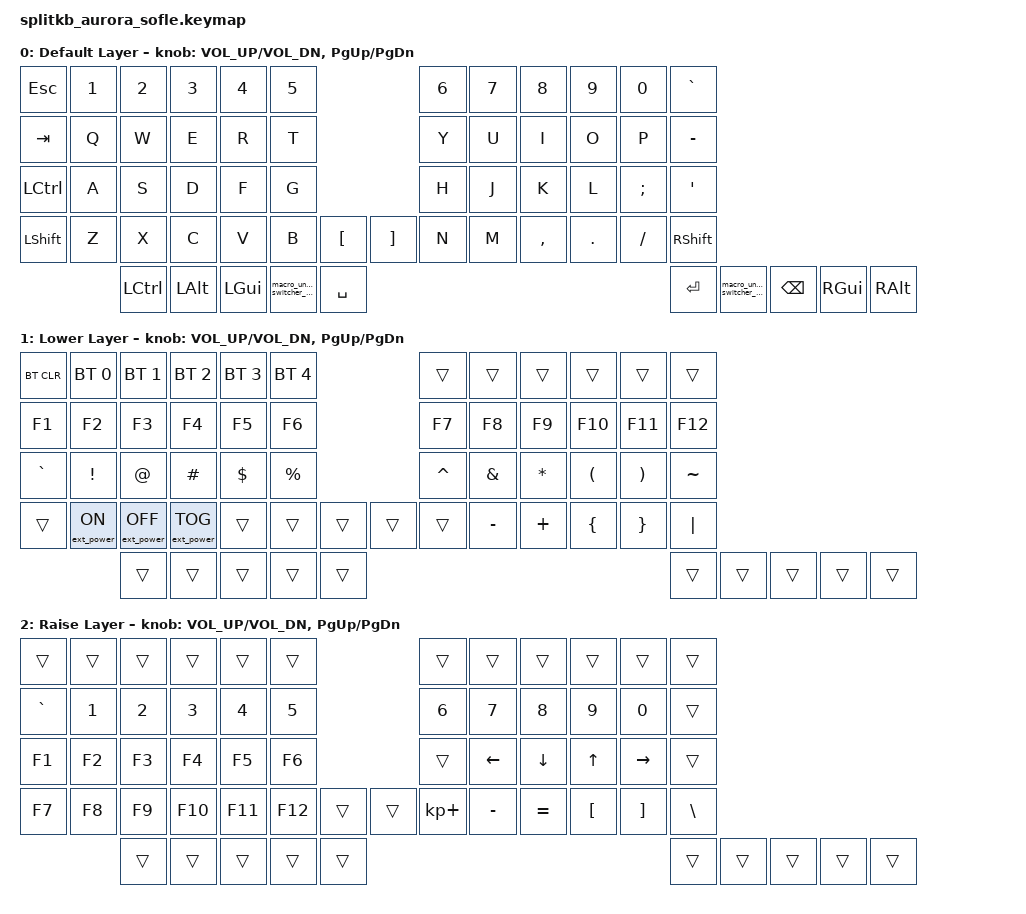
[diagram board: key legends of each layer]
/*
 * Copyright (c) 2023 The ZMK Contributors
 *
 * SPDX-License-Identifier: MIT
 */

#include <behaviors.dtsi>
#include <dt-bindings/zmk/keys.h>
#include <dt-bindings/zmk/bt.h>
#include <dt-bindings/zmk/ext_power.h>
#include <dt-bindings/zmk/rgb.h>

/* Uncomment this block if using RGB */
&led_strip {
    // chain-length = <6>;
    // chain-length = <36>; // Uncomment if using both per-key and underglow LEDs
    chain-length = <72>;
    // chain-length = <29>; // Uncomment if using only per-key LEDs.
};
/*
    backlight: gpioleds {
        compatible = "gpio-leds";
        gpio_led_0 {
            gpios = <&arduino_header 12 GPIO_ACTIVE_HIGH>;
        };
    };
*/
/ {
    macros {
        macro_underglow_switcher_raise: macro_underglow_switcher_raise {
            compatible = "zmk,behavior-macro";
            wait-ms = <0>;
            tap-ms = <0>;
            #binding-cells = <0>;
            bindings
                = <&macro_press &mo 1>
                , <&macro_tap &rgb_ug RGB_COLOR_HSB(38,100,50)>
                , <&macro_pause_for_release>
                , <&macro_release &mo 1>
                , <&macro_tap &rgb_ug RGB_COLOR_HSB(265,100,50)>;
        };
        macro_underglow_switcher_lower: macro_underglow_switcher_lower {
            compatible = "zmk,behavior-macro";
            wait-ms = <0>;
            tap-ms = <0>;
            #binding-cells = <0>;
            bindings
                = <&macro_press &mo 1>
                , <&macro_tap &rgb_ug RGB_COLOR_HSB(125,100,50)>
                , <&macro_pause_for_release>
                , <&macro_release &mo 1>
                , <&macro_tap &rgb_ug RGB_COLOR_HSB(265,10,50)>;
        };
    };

    keymap {
        compatible = "zmk,keymap";

        default_layer {
            display-name = "Default Layer";

// ------------------------------------------------------------------------------------------------------------
// |  ESC  |  1  |  2  |  3   |  4   |  5   |                   |  6   |  7    |  8    |  9   |   0   |   `   |
// |  TAB  |  Q  |  W  |  E   |  R   |  T   |                   |  Y   |  U    |  I    |  O   |   P   |   -   |
// |  CTRL |  A  |  S  |  D   |  F   |  G   |                   |  H   |  J    |  K    |  L   |   ;   |   '   |
// | SHIFT |  Z  |  X  |  C   |  V   |  B   |   "["  |  |  "]"  |  N   |  M    |  ,    |  .   |   /   | SHIFT |
//               |CTRL | ALT  | GUI  | LOWER|  SPACE |  | ENTER | RAISE| BSPC  | GUI   | RALT |
            bindings = <
&kp ESC   &kp N1 &kp N2    &kp N3   &kp N4   &kp N5                     &kp N6 &kp N7   &kp N8    &kp N9   &kp N0   &kp GRAVE
&kp TAB   &kp Q  &kp W     &kp E    &kp R    &kp T                      &kp Y  &kp U    &kp I     &kp O    &kp P    &kp MINUS
&kp LCTRL &kp A  &kp S     &kp D    &kp F    &kp G                      &kp H  &kp J    &kp K     &kp L    &kp SEMI &kp SQT
&kp LSHFT &kp Z  &kp X     &kp C    &kp V    &kp B  &kp LBKT   &kp RBKT &kp N  &kp M    &kp COMMA &kp DOT  &kp FSLH &kp RSHFT
//                 &kp LCTRL &kp LALT &kp LGUI &mo 1  &kp SPACE  &kp RET  &mo 2  &kp BSPC &kp RGUI  &kp RALT
                 &kp LCTRL &kp LALT &kp LGUI &macro_underglow_switcher_lower  &kp SPACE  &kp RET  &macro_underglow_switcher_raise  &kp BSPC &kp RGUI  &kp RALT
            >;

            sensor-bindings = <&inc_dec_kp C_VOL_UP C_VOL_DN &inc_dec_kp PG_UP PG_DN>;
        };

        lower_layer {
            display-name = "Lower Layer";

// ------------------------------------------------------------------------------------------------------------
// | BTCLR | BT1 | BT2 |  BT3 |  BT4 |  BT5 |                   |      |       |       |      |       |       |
// |  F1   |  F2 |  F3 |  F4  |  F5  |  F6  |                   |  F7  |  F8   |  F9   |  F10 |  F11  |  F12  |
// |   `   |  !  |  @  |  #   |  $   |  %   |                   |  ^   |  &    |  *    |  (   |   )   |   ~   |
// |       |     |     |      |      |      |        |  |       |      |  _    |  +    |  {   |   }   |  "|"  |
//               |     |      |      |      |        |  |       |      |       |       |      |
            bindings = <
&bt BT_CLR &bt BT_SEL 0     &bt BT_SEL 1      &bt BT_SEL 2      &bt BT_SEL 3 &bt BT_SEL 4                 &trans    &trans    &trans    &trans    &trans    &trans
&kp F1     &kp F2           &kp F3            &kp F4            &kp F5       &kp F6                       &kp F7    &kp F8    &kp F9    &kp F10   &kp F11   &kp F12
&kp GRAVE  &kp EXCL         &kp AT            &kp HASH          &kp DOLLAR   &kp PRCNT                    &kp CARET &kp AMPS  &kp STAR  &kp LPAR  &kp RPAR  &kp TILDE
&trans     &ext_power EP_ON &ext_power EP_OFF &ext_power EP_TOG &trans       &trans    &trans   &trans    &trans    &kp MINUS &kp PLUS  &kp LBRC  &kp RBRC  &kp PIPE
                            &trans            &trans            &trans       &trans    &trans   &trans    &trans    &trans    &trans    &trans
            >;

            sensor-bindings = <&inc_dec_kp C_VOL_UP C_VOL_DN &inc_dec_kp PG_UP PG_DN>;
        };

        raise_layer {
            display-name = "Raise Layer";

// ------------------------------------------------------------------------------------------------------------
// |       |     |     |      |      |      |                   |      |       |       |      |       |       |
// |   `   |  1  |  2  |  3   |  4   |  5   |                   |  6   |   7   |   8   |  9   |   0   |       |
// |   F1  |  F2 |  F3 |  F4  |  F5  |  F6  |                   |      |   <-  |   v   |  ^   |  ->   |       |
// |   F7  |  F8 |  F9 |  F10 |  F11 |  F12 |        |  |       |  +   |   -   |   =   |  [   |   ]   |   \   |
//               |     |      |      |      |        |  |       |      |       |       |      |
            bindings = <
&trans    &trans &trans &trans  &trans  &trans                       &trans      &trans    &trans    &trans   &trans    &trans
&kp GRAVE &kp N1 &kp N2 &kp N3  &kp N4  &kp N5                       &kp N6      &kp N7    &kp N8    &kp N9   &kp N0    &trans
&kp F1    &kp F2 &kp F3 &kp F4  &kp F5  &kp F6                       &trans      &kp LEFT  &kp DOWN  &kp UP   &kp RIGHT &trans
&kp F7    &kp F8 &kp F9 &kp F10 &kp F11 &kp F12   &trans   &trans    &kp KP_PLUS &kp MINUS &kp EQUAL &kp LBKT &kp RBKT  &kp BSLH
                 &trans &trans  &trans  &trans    &trans   &trans    &trans      &trans    &trans    &trans
            >;

            sensor-bindings = <&inc_dec_kp C_VOL_UP C_VOL_DN &inc_dec_kp PG_UP PG_DN>;
        };
    };
};
